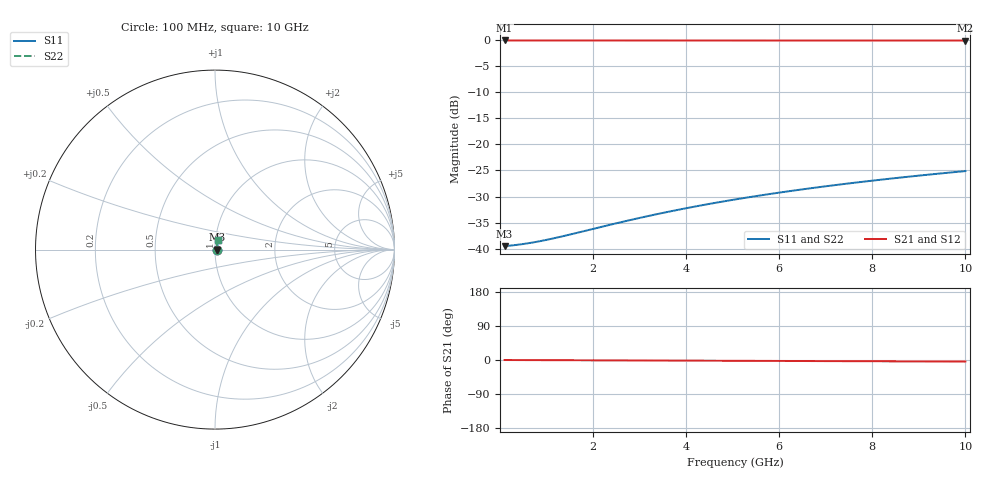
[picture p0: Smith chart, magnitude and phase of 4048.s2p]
# Hz S RI R 50.00
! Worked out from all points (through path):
!   100 points, 100 MHz to 10 GHz, reference 50 ohm
!   highest |S21| = -0.09 dB at 100 MHz (marker M1); lowest = -0.1 dB at 10 GHz (marker M2)
!   lowest |S11| = -39.5 dB at 100 MHz (marker M3), VSWR 1.02, Z = 51.1 + j0.0547 ohm
!   |S11| at or under -10 dB: start of sweep to end of sweep
!   |S22| runs from -39.5 to -25.1 dB; largest |S21 - S12| = 0
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1e8  0.0106 0.000536  0.9894 -0.000718  0.9894 -0.000718  0.0106 0.000536
3e8  0.0107 0.00161  0.9893 -0.00215  0.9893 -0.00215  0.0107 0.00161
5e8  0.0108 0.00268  0.9892 -0.00359  0.9892 -0.00359  0.0108 0.00268
8e8  0.0109 0.00428  0.9891 -0.00574  0.9891 -0.00574  0.0109 0.00428
1e9  0.0109 0.00535  0.9891 -0.00718  0.9891 -0.00718  0.0109 0.00535
1.2e9  0.011 0.00642  0.989 -0.00861  0.989 -0.00861  0.011 0.00642
1.8e9  0.0111 0.00963  0.9888 -0.0129  0.9888 -0.0129  0.0111 0.00963
2.3e9  0.0113 0.0123  0.9887 -0.0165  0.9887 -0.0165  0.0113 0.0123
2.7e9  0.0114 0.0144  0.9886 -0.0194  0.9886 -0.0194  0.0114 0.0144
3.1e9  0.0115 0.0166  0.9885 -0.0222  0.9885 -0.0222  0.0115 0.0166
3.4e9  0.0116 0.0182  0.9884 -0.0244  0.9884 -0.0244  0.0116 0.0182
3.8e9  0.0118 0.0203  0.9882 -0.0273  0.9882 -0.0273  0.0118 0.0203
4.2e9  0.0119 0.0225  0.988 -0.0301  0.988 -0.0301  0.0119 0.0225
4.6e9  0.0121 0.0246  0.9879 -0.033  0.9879 -0.033  0.0121 0.0246
5.1e9  0.0123 0.0273  0.9877 -0.0366  0.9877 -0.0366  0.0123 0.0273
5.5e9  0.0125 0.0294  0.9875 -0.0394  0.9875 -0.0394  0.0125 0.0294
5.9e9  0.0127 0.0315  0.9872 -0.0423  0.9872 -0.0423  0.0127 0.0315
6.7e9  0.0131 0.0358  0.9868 -0.048  0.9868 -0.048  0.0131 0.0358
7.5e9  0.0136 0.04  0.9863 -0.0537  0.9863 -0.0537  0.0136 0.04
8.4e9  0.0142 0.0448  0.9857 -0.0602  0.9857 -0.0602  0.0142 0.0448
9.2e9  0.0148 0.0491  0.9851 -0.0659  0.9851 -0.0659  0.0148 0.0491
1e10  0.0154 0.0533  0.9844 -0.0716  0.9844 -0.0716  0.0154 0.0533
